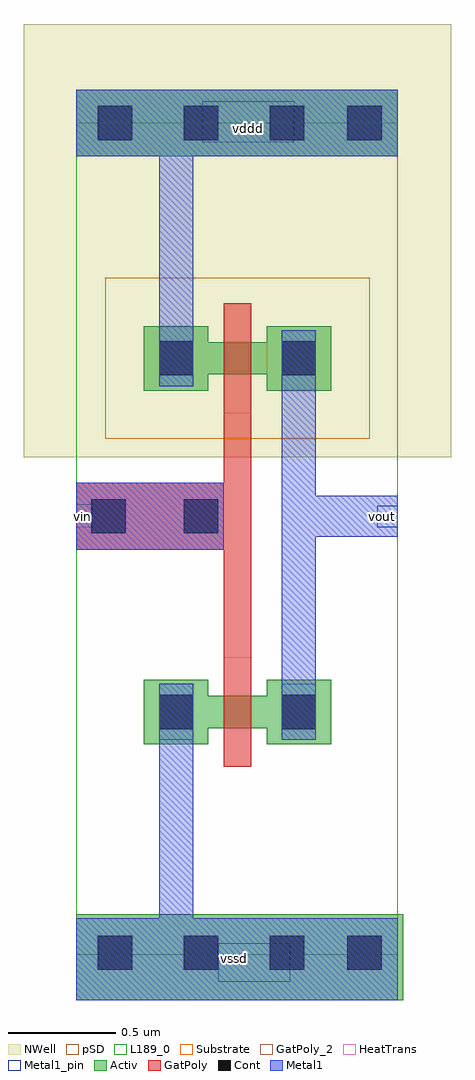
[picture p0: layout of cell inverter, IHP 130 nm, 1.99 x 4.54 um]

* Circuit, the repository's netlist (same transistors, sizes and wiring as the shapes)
** sch_path: /home/slice/xschem/tb_inverter_demo/inverter.sch
.subckt inverter vin vout vddd vssd
*.PININFO vddd:I vssd:I vin:I vout:O
M_PMOS vout vin vddd vddd sg13_lv_pmos w=0.15u l=0.13u ng=1 m=1
M_NMOS vout vin vssd vssd sg13_lv_nmos w=0.15u l=0.13u ng=1 m=1
.ends

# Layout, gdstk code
import gdstk
lib = gdstk.Library(unit=1e-6, precision=1e-09)
def R(c, l, rs):  # rectangles x0, y0, x1, y1
    for r in rs: c.add(gdstk.rectangle(r[:2], r[2:], *l))
def A(c, l, x, y, w, h, nx, ny, dx, dy):  # array of equal rectangles
    R(c, l, [(x+i*dx, y+j*dy, x+i*dx+w, y+j*dy+h) for i in range(nx) for j in range(ny)])
Activ = (1, 0)
GatPoly = (5, 0)
GatPoly_2 = (5, 2)
Cont = (6, 0)
Metal1 = (8, 0)
Metal1_pin = (8, 2)
pSD = (14, 0)
NWell = (31, 0)
Substrate = (40, 0)
HeatTrans = (51, 0)
L189_0 = (189, 0)

nmos = lib.new_cell('nmos')
R(nmos, Activ, [(0,0,0.3,0.3), (0.57,0,0.87,0.3), (0,0.075,0.87,0.225)])
R(nmos, GatPoly, [(0.37,-0.105,0.5,0.405)])
R(nmos, GatPoly_2, [(0.37,-0.105,0.5,0.405)])
R(nmos, Cont, [(0.07,0.07,0.23,0.23), (0.64,0.07,0.8,0.23)])
R(nmos, Metal1, [(0.07,0.02,0.23,0.28), (0.64,0.02,0.8,0.28)])
R(nmos, Metal1_pin, [(0.07,0.02,0.23,0.28), (0.64,0.02,0.8,0.28)])
R(nmos, HeatTrans, [(0.37,-0.105,0.5,0.405)])
nmos.add(gdstk.Label('nmos', (0.435,0.15), layer=63, texttype=0))
nmos.add(gdstk.Label('nmos', (0.435,0.15), layer=51, texttype=0))

pmos = lib.new_cell('pmos')
R(pmos, Activ, [(0,0,0.3,0.3), (0.57,0,0.87,0.3), (0,0.075,0.87,0.225)])
R(pmos, GatPoly, [(0.37,-0.105,0.5,0.405), (0.37,-0.105,0.5,0.405)])
R(pmos, Cont, [(0.07,0.07,0.23,0.23), (0.64,0.07,0.8,0.23)])
R(pmos, Metal1, [(0.07,0.02,0.23,0.28), (0.07,0.02,0.23,0.28), (0.64,0.02,0.8,0.28), (0.64,0.02,0.8,0.28)])
R(pmos, pSD, [(-0.18,-0.225,1.05,0.525)])
R(pmos, NWell, [(-0.31,-0.31,1.18,0.61)])
R(pmos, Substrate, [(0.57,0,0.87,0.3)])
R(pmos, HeatTrans, [(0.37,-0.105,0.5,0.405)])
pmos.add(gdstk.Label('pmos', (0.435,0.15), layer=63, texttype=0))
pmos.add(gdstk.Label('pmos', (0.435,0.15), layer=51, texttype=0))

inverter = lib.new_cell('inverter')
R(inverter, Activ, [(-1,-2.2,0.495,-1.86), (-1,-2.2,0.495,-1.86), (0.48,-2.2,0.52,-1.8), (-1,-2.105,0.495,-1.86), (-1,-1.9,0.495,-1.82), (-1,-1.835,0.495,-1.8), (-1,1.725,0.495,2.035), (-1,1.755,0.495,2)])
R(inverter, GatPoly, [(-0.315,-0.64,-0.185,0.555), (-1,-0.105,-0.305,0.205), (-1,-0.045,-0.275,0.145), (-1,0,-0.185,0.105)])
A(inverter, Cont, -0.9, -2.06, 0.16, 0.16, 3, 2, 0.4, 3.86)
R(inverter, Cont, [(0.26,-2.06,0.42,-1.9), (-0.93,-0.03,-0.77,0.13), (-0.5,-0.03,-0.34,0.13), (0.26,1.8,0.42,1.96)])
R(inverter, Metal1, [(-1,-2.2,0.495,-1.86), (-1,-2.105,0.495,-1.86), (-0.615,-1.915,-0.455,-0.95), (-1,-1.87,0.495,-1.82), (-0.045,-0.77,0.115,0.68), (-1,-0.105,-0.315,0.205), (-1,-0.045,-0.315,0.145), (-0.045,-0.045,0.495,0.145), (-1,0,-0.5,0.105), (-0.035,0,0.495,0.1), (-0.615,0.905,-0.455,1.87), (-1,1.725,0.495,2.035), (-1,1.755,0.495,2)])
R(inverter, Metal1_pin, [(-0.34,-2.115,-0.005,-1.935), (-1,0,-0.925,0.105), (0.4,0,0.495,0.1), (-0.415,1.79,0.015,1.98)])
R(inverter, pSD, [(-1,-2.2,0.495,-1.86), (0.45,-2.2,0.52,-1.8), (-1,-2.105,0.495,-1.86), (-1,-1.865,0.495,-1.82), (-1,-1.865,0.495,-1.8)])
R(inverter, NWell, [(-1.245,0.325,-0.93,2.25), (-1,0.325,0.495,2), (0.45,0.325,0.745,2.25), (-1,1.97,0.495,2.25), (-1.245,2.21,0.745,2.34)])
R(inverter, L189_0, [(-1,-1.99,0.495,1.88)])
inverter.add(gdstk.Reference(nmos, (-0.685,-1.01)))
inverter.add(gdstk.Reference(pmos, (-0.685,0.635)))
inverter.add(gdstk.Label('vout', (0.425,0.05), layer=8, texttype=25))
inverter.add(gdstk.Label('vin', (-0.97,0.05), layer=8, texttype=25))
inverter.add(gdstk.Label('vddd', (-0.2,1.855), layer=8, texttype=25))
inverter.add(gdstk.Label('vssd', (-0.265,-2.005), layer=8, texttype=25))

lib.write_gds('inverter.gds')
